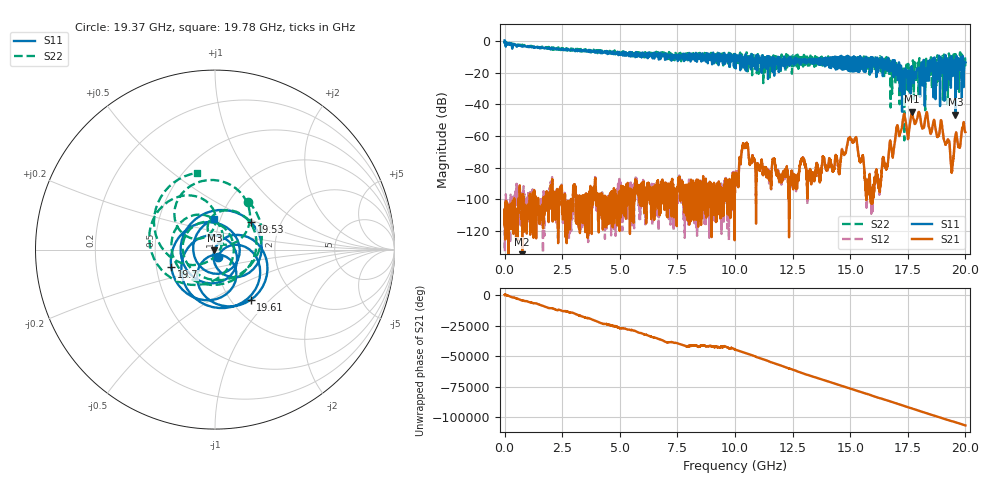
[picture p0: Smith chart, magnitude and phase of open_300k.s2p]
! MS46122B
! 2250307/22442219
! 2/13/2026 1:49:46 PM
! C:\USERS\SPARKY\DOCUMENTS\VNA_DATA\FEB13_2026\OPEN_300K.S2P
! CHANNEL.1
! TR.MEASUREMENT
! RAW.DATA
# GHZ S RI R 50.0
! FREQ.GHZ  S11RE  S11IM  S21RE  S21IM  S12RE  S12IM  S22RE  S22IM
!; PortSelection: Port_12
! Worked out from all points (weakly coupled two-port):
!   10001 points, 1 MHz to 20 GHz, reference 50 ohm
!   highest |S21| = -44.58 dB at 17.68 GHz (marker M1); lowest = -140.0 dB at 765 MHz (marker M2)
!   lowest |S11| = -46.6 dB at 19.57 GHz (marker M3), VSWR 1.01, Z = 49.7 - j0.328 ohm
!   |S11| at or under -10 dB: 12.14 GHz to 12.4 GHz (258.1 MHz wide, 2.1 % of centre); 12.4 GHz to 14.34 GHz (1.932 GHz wide, 14.5 % of centre); 15.7 GHz to 18.85 GHz (3.146 GHz wide, 18.2 % of centre) (the widest 3 of 73)
!   |S22| runs from -62.7 to -0.1 dB; largest |S21 - S12| = 0.0025
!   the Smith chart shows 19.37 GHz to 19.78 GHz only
!   S11 on the Smith chart (normalised r, x): 19.37 GHz: 1.03, -0.08; 19.53 GHz: 1.42, +0.46; 19.61 GHz: 1.22, -0.78; 19.7 GHz: 0.60, -0.13; 19.78 GHz: 0.94, +0.33
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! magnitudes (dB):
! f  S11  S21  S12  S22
! 1 MHz  0.4  -106.7  -111.8  -0.1
! 765 MHz  -3.0  -140.0  -104.3  -2.3
! 3.335 GHz  -5.6  -103.5  -109.6  -6.4
! 6.669 GHz  -8.1  -97.4  -94.6  -8.1
! 10 GHz  -8.4  -89.9  -92.2  -8.8
! 10.44 GHz  -9.5  -66.4  -66.7  -11.1
! 10.98 GHz  -11.4  -78.4  -77.7  -8.4
! 13.33 GHz  -11.4  -86.4  -85.5  -10.6
! 14.52 GHz  -15.0  -84.1  -83.2  -12.2
! 14.99 GHz  -18.3  -60.6  -61.0  -13.5
! 15.7 GHz  -10.0  -98.9  -95.4  -13.5
! 16.67 GHz  -12.0  -72.1  -71.8  -13.2
! 17.32 GHz  -19.8  -46.7  -46.7  -17.8
! 17.68 GHz  -16.3  -44.6  -44.5  -29.1
! 18.96 GHz  -13.5  -50.9  -50.8  -16.1
! 19.37 GHz  -27.3  -76.5  -76.8  -9.8
! 19.53 GHz  -12.0  -65.0  -64.5  -19.8
! 19.57 GHz  -46.6  -59.9  -59.8  -8.2
! 19.61 GHz  -9.3  -58.6  -58.6  -23.6
! 19.7 GHz  -11.6  -67.0  -66.9  -12.2
! 19.78 GHz  -15.4  -66.2  -65.9  -7.2
! 20 GHz  -13.5  -57.5  -58.0  -17.3
